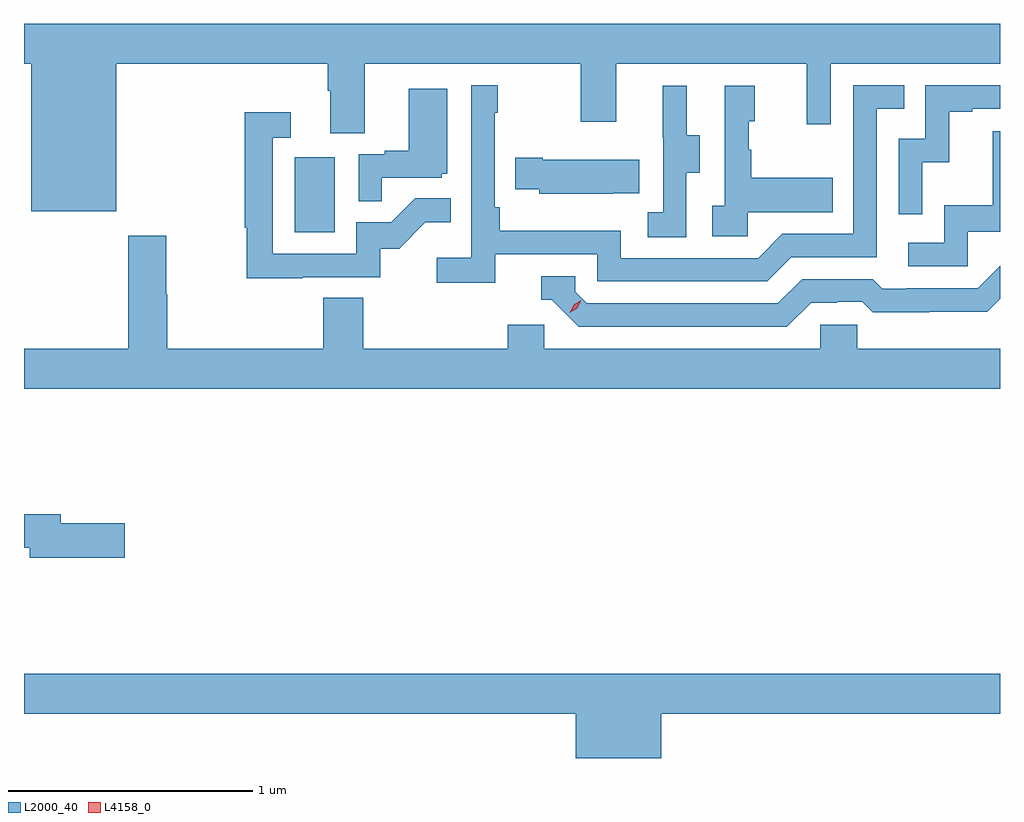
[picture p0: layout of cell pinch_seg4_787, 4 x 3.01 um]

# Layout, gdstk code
import gdstk
lib = gdstk.Library(unit=1e-6, precision=1e-09)
def R(c, l, rs):  # rectangles x0, y0, x1, y1
    for r in rs: c.add(gdstk.rectangle(r[:2], r[2:], *l))
def P(c, l, *ps):  # polygons
    for p in ps: c.add(gdstk.Polygon(p, *l))
L2000_40 = (2000, 40)
L4158_0 = (4158, 0)

pinch_seg4_787 = lib.new_cell('pinch_seg4_787')
R(pinch_seg4_787, L2000_40, [(806.012,813.444,806.176,813.751)])
P(pinch_seg4_787, L2000_40, [(804.903,814.136),(804.932,814.136),(804.932,813.53),(805.282,813.53),(805.282,814.136),(806.147,814.136),(806.147,814.024),(806.159,814.024),(806.159,813.85),(806.299,813.85),(806.299,814.136),(807.184,814.136),(807.184,813.897),(807.331,813.897),(807.331,814.136),(808.112,814.136),(808.112,813.888),(808.209,813.888),(808.209,814.136),(808.903,814.136),(808.903,814.3),(804.903,814.3)],
  [(806.834,813.354),(807.252,813.354),(807.252,813.243),(807.949,813.243),(808.048,813.342),(808.398,813.342),(808.398,813.951),(808.511,813.951),(808.511,814.047),(808.302,814.047),(808.302,813.438),(808.011,813.438),(807.912,813.339),(807.348,813.339),(807.348,813.451),(806.852,813.451),(806.852,813.547),(806.832,813.547),(806.832,813.935),(806.845,813.935),(806.845,814.048),(806.736,814.048),(806.736,813.34),(806.595,813.34),(806.595,813.238),(806.834,813.238)],
  [(808.584,813.731),(808.694,813.731),(808.694,813.939),(808.789,813.939),(808.789,813.951),(808.903,813.951),(808.903,814.047),(808.596,814.047),(808.596,813.828),(808.488,813.828),(808.488,813.519),(808.584,813.519)],
  [(807.87,813.527),(808.217,813.527),(808.217,813.667),(807.883,813.667),(807.883,813.782),(807.873,813.782),(807.873,813.9),(807.898,813.9),(807.898,814.045),(807.774,814.045),(807.774,813.554),(807.723,813.554),(807.723,813.429),(807.87,813.429)],
  [(807.618,813.688),(807.673,813.688),(807.673,813.843),(807.619,813.843),(807.619,814.045),(807.521,814.045),(807.521,813.831),(807.522,813.831),(807.522,813.527),(807.459,813.527),(807.459,813.424),(807.618,813.424)],
  [(806.369,813.669),(806.616,813.669),(806.616,813.684),(806.638,813.684),(806.638,814.033),(806.48,814.033),(806.48,813.778),(806.381,813.778),(806.381,813.765),(806.274,813.765),(806.274,813.571),(806.369,813.571)],
  [(806.045,813.261),(806.364,813.261),(806.364,813.378),(806.44,813.378),(806.547,813.485),(806.651,813.485),(806.651,813.584),(806.507,813.584),(806.409,813.486),(806.265,813.486),(806.265,813.357),(805.923,813.357),(805.923,813.831),(805.996,813.831),(805.996,813.937),(805.807,813.937),(805.807,813.464),(805.815,813.464),(805.815,813.256),(806.045,813.256)],
  [(808.77,813.447),(808.903,813.447),(808.903,813.859),(808.873,813.859),(808.873,813.556),(808.674,813.556),(808.674,813.402),(808.527,813.402),(808.527,813.306),(808.77,813.306)],
  [(807.317,813.605),(807.425,813.605),(807.425,813.742),(807.028,813.742),(807.028,813.75),(806.917,813.75),(806.917,813.62),(807.015,813.62),(807.015,813.602),(807.317,813.602)],
  [(808.903,812.968),(808.317,812.968),(808.317,813.066),(808.167,813.066),(808.167,812.968),(807.036,812.968),(807.036,813.066),(806.885,813.066),(806.885,812.968),(806.294,812.968),(806.294,813.176),(806.129,813.176),(806.129,812.968),(805.49,812.968),(805.49,813.191),(805.485,813.191),(805.485,813.43),(805.33,813.43),(805.33,812.968),(804.903,812.968),(804.903,812.804),(808.903,812.804)],
  [(808.129,813.156),(808.236,813.156),(808.236,813.159),(808.339,813.159),(808.381,813.117),(808.614,813.117),(808.614,813.119),(808.85,813.119),(808.903,813.172),(808.903,813.307),(808.812,813.216),(808.519,813.216),(808.519,813.213),(808.42,813.213),(808.381,813.252),(808.092,813.252),(807.993,813.153),(807.21,813.153),(807.162,813.201),(807.162,813.264),(807.023,813.264),(807.023,813.168),(807.066,813.168),(807.177,813.057),(808.03,813.057)],
  [(805.315,812.252),(805.054,812.252),(805.054,812.288),(804.903,812.288),(804.903,812.152),(804.926,812.152),(804.926,812.11),(805.315,812.11)],
  [(807.514,811.472),(808.903,811.472),(808.903,811.636),(804.903,811.636),(804.903,811.472),(807.164,811.472),(807.164,811.288),(807.514,811.288)])
P(pinch_seg4_787, L4158_0, [(807.14,813.114),(807.14,813.114),(807.156,813.147),(807.187,813.166),(807.187,813.166),(807.187,813.166),(807.171,813.133),(807.14,813.114)])

lib.write_gds('pinch_seg4_787.gds')
